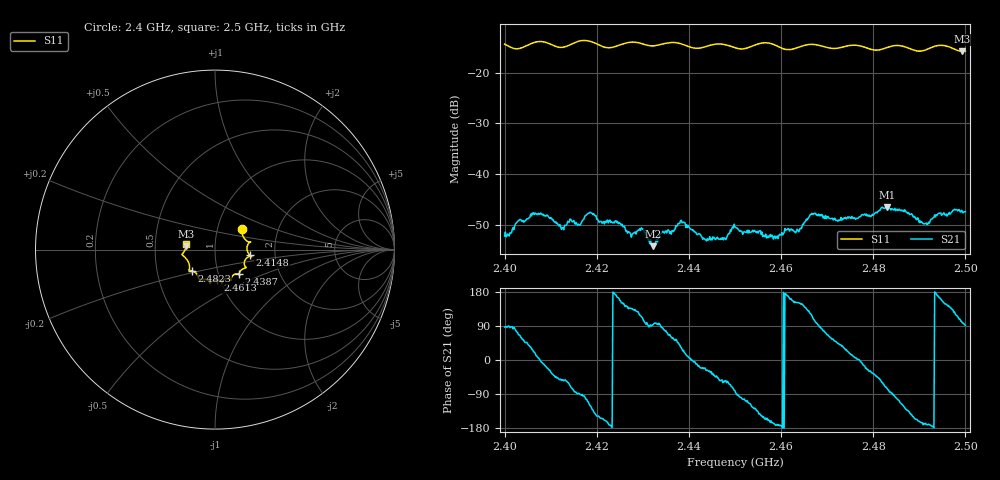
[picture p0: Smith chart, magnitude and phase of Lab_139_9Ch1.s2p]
# Hz S RI R 50
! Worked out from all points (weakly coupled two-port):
!   601 points, 2.4 GHz to 2.5 GHz, reference 50 ohm
!   highest |S21| = -46.54 dB at 2.483 GHz (marker M1); lowest = -54.3 dB at 2.4322 GHz (marker M2)
!   lowest |S11| = -15.8 dB at 2.4993 GHz (marker M3), VSWR 1.39, Z = 36 + j1.31 ohm
!   |S11| at or under -10 dB: start of sweep to end of sweep
!   S12 and S22 are empty: the file has one direction only
!   S11 on the Smith chart (normalised r, x): 2.4 GHz: 1.31, +0.32; 2.4148 GHz: 1.47, -0.09; 2.4387 GHz: 1.25, -0.36; 2.4613 GHz: 0.97, -0.34; 2.4823 GHz: 0.75, -0.18; 2.5 GHz: 0.72, +0.04
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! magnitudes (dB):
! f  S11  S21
! 2.4 GHz  -14.3  -52.3
! 2.4062 GHz  -14.1  -47.9
! 2.4123 GHz  -15.0  -51.0
! 2.4148 GHz  -14.2  -49.4
! 2.4167 GHz  -13.6  -49.6
! 2.4188 GHz  -13.9  -47.7
! 2.4298 GHz  -14.2  -50.8
! 2.4322 GHz  -14.7  -54.3
! 2.4333 GHz  -14.5  -52.7
! 2.4387 GHz  -14.4  -49.6
! 2.4438 GHz  -14.8  -53.2
! 2.45 GHz  -15.0  -50.4
! 2.4588 GHz  -14.6  -52.8
! 2.4613 GHz  -15.4  -51.0
! 2.4667 GHz  -14.4  -47.8
! 2.4723 GHz  -15.1  -49.4
! 2.4823 GHz  -15.2  -46.8
! 2.483 GHz  -15.0  -46.5
! 2.4833 GHz  -14.9  -46.8
! 2.4913 GHz  -15.5  -49.8
! 2.4993 GHz  -15.8  -47.5
! 2.5 GHz  -15.7  -47.5
